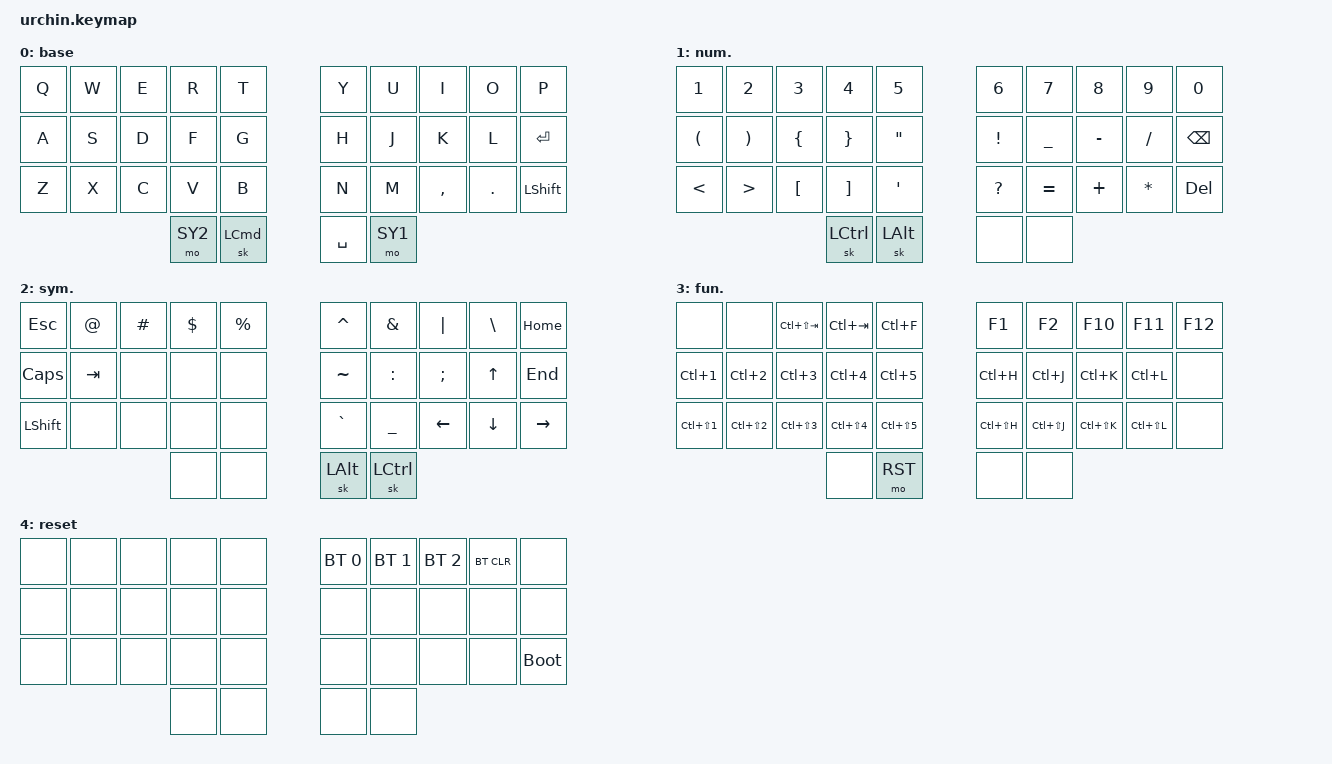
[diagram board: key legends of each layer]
/*
 * Copyright (c) 2024 orientino
 *
 * SPDX-License-Identifier: MIT
 */

#include <behaviors.dtsi>
#include <dt-bindings/zmk/keys.h>
#include <dt-bindings/zmk/bt.h>
#include <dt-bindings/zmk/outputs.h>

#define BASE 0
#define SY1 1
#define SY2 2
#define FUN 3
#define RST 4

/* 
 * BASE
 * ╭─────────────────────────────╮ ╭─────────────────────────────╮
 * |  Q  |  W  |  E  |  R  |  T  | |  Y  |  U  |  I  |  O  |  P  |
 * |  A  |  S  |  D  |  F  |  G  | |  H  |  J  |  K  |  L  | RET |
 * |  Z  |  X  |  C  |  V  |  B  | |  N  |  M  |  ,  |  .  |LSHFT|
 * ╰─────────────────╮ SY2 | CMD | | SPC | SY1 ╭─────────────────╯

 * SY1 (Symbols 1)
 * ╭─────────────────────────────╮ ╭─────────────────────────────╮
 * |  1  |  2  |  3  |  4  |  5  | |  6  |  7  |  8  |  9  |  0  |
 * |  (  |  )  |  {  |  }  |  "  | |  !  |  =  |  /  |  *  | BSPC|
 * |  <  |  >  |  [  |  ]  |  '  | |  ?  |  _  |  -  |  +  | DEL |
 * ╰─────────────────╮ LCTL| LALT| |     |     ╭─────────────────╯

 * SY2 (Symbols 2)
 * ╭─────────────────────────────╮ ╭─────────────────────────────╮
 * | ESC |  @  |  #  |  $  |  %  | |  ^  |  &  |  |  |  \  | HOME|
 * | CAPS| TAB |     |     |     | |  ~  |  :  |  ;  |ARROW| END |
 * |LSHFT|     |     |     |     | |  `  |     |ARROW|ARROW|ARROW|
 * ╰─────────────────╮     |     | | LALT| LCTL╭─────────────────╯

 * FUN (Functions): custom shortcuts (yabai+skhd)
 * ╭─────────────────────────────╮ ╭─────────────────────────────╮
 * |     |     |     |     |     | |     |     |     |     |     |
 * |     |     |     |     |     | |     |     |     |     |     |
 * |     |     |     |     |     | |     |     |     |     |     |
 * ╰─────────────────╮     |     | |     |     ╭─────────────────╯
 */


/ {
    combos {
        #include "combos.dtsi"    
    };
};

/ {
	keymap {
		compatible = "zmk,keymap";
		
		base_layer {
			label = "base";
			bindings = <
			&kp Q &kp W &kp E &kp R &kp T           		&kp Y &kp U &kp I &kp O &kp P 
			&kp A &kp S &kp D &kp F &kp G           		&kp H &kp J &kp K &kp L &kp RET
			&kp Z &kp X &kp C &kp V &kp B           		&kp N &kp M &kp COMMA &kp DOT &kp LSHFT
						&mo SY2 &sk LCMD	       			&kp SPACE &mo SY1
			>;
		};

		sy1_layer {
			label = "num.";
			bindings = <
			&kp N1 &kp N2 &kp N3 &kp N4 &kp N5		     	&kp N6 &kp N7 &kp N8 &kp N9 &kp N0
			&kp LPAR &kp RPAR &kp LBRC &kp RBRC &kp DQT  	&kp EXCL &kp UNDER &kp MINUS &kp FSLH &kp BSPC
			&kp LT &kp GT &kp LBKT &kp RBKT &kp SQT  		&kp QMARK &kp EQUAL &kp PLUS &kp STAR &kp DEL
									&sk LCTL &sk LALT  		&none &none
			>;
		};

		sy2_layer {
			label = "sym.";
			bindings = <
			&kp ESC &kp AT &kp HASH &kp DLLR &kp PRCNT 		&kp CARET &kp AMPS &kp PIPE &kp BSLH &kp HOME
			&kp CAPS &kp TAB &none &none &none				&kp TILDE &kp COLON &kp SEMI &kp UP &kp END
			&kp LSHFT &none &none &none &none 				&kp GRAVE &kp UNDER &kp LEFT &kp DOWN &kp RIGHT
									&none &none 			&sk LALT &sk LCTL
			>;
		};

		fun_layer {
			label = "fun.";
			bindings = <
			&none &none &kp LC(LS(TAB)) &kp LC(TAB) &kp LC(F)								&kp F1 &kp F2 &kp F10 &kp F11 &kp F12
			&kp LC(N1) &kp LC(N2) &kp LC(N3) &kp LC(N4) &kp LC(N5)							&kp LC(H) &kp LC(J) &kp LC(K) &kp LC(L) &none
			&kp LC(LS(N1)) &kp LC(LS(N2)) &kp LC(LS(N3)) &kp LC(LS(N4)) &kp LC(LS(N5))		&kp LC(LS(H)) &kp LC(LS(J)) &kp LC(LS(K)) &kp LC(LS(L)) &none
															&none &mo RST					&none &none  
			>;
		};

		res_layer {
			label = "reset";
			bindings = <
			&none &none &none &none &none					&bt BT_SEL 0 &bt BT_SEL 1 &bt BT_SEL 2 &bt BT_CLR &none
			&none &none &none &none &none					&none &none &none &none &none
			&none &none &none &none &none                  	&none &none &none &none &bootloader
							&none &none						&none &none  
			>;
		};
	};
};
